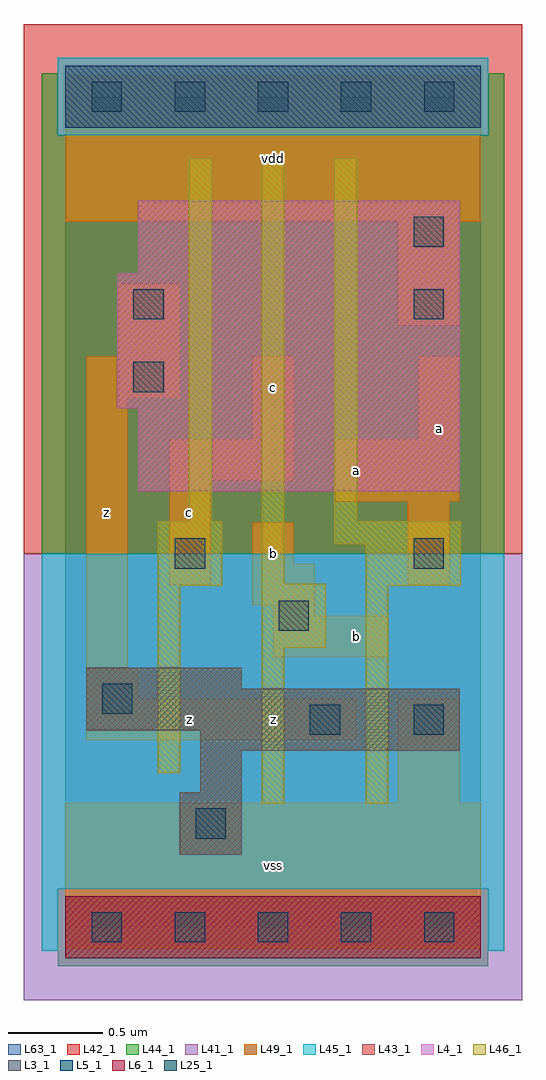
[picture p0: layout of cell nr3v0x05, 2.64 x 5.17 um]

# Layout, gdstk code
import gdstk
lib = gdstk.Library(unit=1e-6, precision=1e-09)
def R(c, l, rs):  # rectangles x0, y0, x1, y1
    for r in rs: c.add(gdstk.rectangle(r[:2], r[2:], *l))
def A(c, l, x, y, w, h, nx, ny, dx, dy):  # array of equal rectangles
    R(c, l, [(x+i*dx, y+j*dy, x+i*dx+w, y+j*dy+h) for i in range(nx) for j in range(ny)])
L3_1 = (3, 1)
L4_1 = (4, 1)
L5_1 = (5, 1)
L6_1 = (6, 1)
L25_1 = (25, 1)
L41_1 = (41, 1)
L42_1 = (42, 1)
L43_1 = (43, 1)
L44_1 = (44, 1)
L45_1 = (45, 1)
L46_1 = (46, 1)
L49_1 = (49, 1)
L63_1 = (63, 1)

nr3v0x05 = lib.new_cell('nr3v0x05')
R(nr3v0x05, L3_1, [(0.605,0.385,0.935,0.715), (0.715,0.715,0.935,0.935), (0.715,0.935,2.09,1.045), (0.11,1.045,2.09,1.265), (0.11,1.265,0.935,1.375)])
R(nr3v0x05, L4_1, [(0.385,2.31,2.09,2.75), (0.275,2.75,2.09,3.465), (0.385,3.465,2.09,3.85)])
R(nr3v0x05, L5_1, [(0,4.235,2.2,4.565)])
R(nr3v0x05, L6_1, [(0,-0.165,2.2,0.165)])
A(nr3v0x05, L25_1, 0.14, -0.08, 0.16, 0.16, 5, 2, 0.44, 4.4)
R(nr3v0x05, L25_1, [(0.69,0.47,0.85,0.63), (1.295,1.02,1.455,1.18), (1.845,1.02,2.005,1.18), (0.195,1.13,0.355,1.29), (1.13,1.57,1.29,1.73), (0.58,1.9,0.74,2.06), (1.845,1.9,2.005,2.06), (0.36,2.835,0.52,2.995), (0.36,3.22,0.52,3.38), (1.845,3.22,2.005,3.38), (1.845,3.605,2.005,3.765)])
R(nr3v0x05, L41_1, [(-0.22,-0.385,2.42,1.98)])
R(nr3v0x05, L42_1, [(-0.22,1.98,2.42,4.785)])
R(nr3v0x05, L43_1, [(0,-0.165,2.2,0.165), (0.605,0.385,0.935,0.715), (0.715,0.715,0.935,0.935), (0.715,0.935,2.09,1.045), (0.11,1.045,2.09,1.265), (0.11,1.265,0.935,1.375), (0.385,2.31,2.09,2.75), (0.275,2.75,2.09,3.465), (0.385,3.465,2.09,3.85), (0,4.235,2.2,4.565)])
R(nr3v0x05, L44_1, [(-0.04,-0.205,2.24,0.205), (-0.125,1.98,2.325,4.195), (-0.125,4.195,-0.04,4.525), (2.24,4.195,2.325,4.525)])
R(nr3v0x05, L45_1, [(-0.125,-0.125,-0.04,0.205), (2.24,-0.125,2.325,0.205), (-0.125,0.205,2.325,1.98), (-0.04,4.195,2.24,4.605)])
R(nr3v0x05, L46_1, [(1.04,0.655,1.16,1.48), (1.59,0.655,1.71,1.81), (0.49,0.82,0.61,1.81), (1.04,1.48,1.38,1.82), (0.49,1.81,0.83,2.15), (1.59,1.81,2.095,2.03), (1.04,1.82,1.16,4.075), (1.425,2.03,2.095,2.15), (0.655,2.15,0.775,4.075), (1.425,2.15,1.545,4.075)])
R(nr3v0x05, L49_1, [(0,-0.11,2.2,0.66), (1.76,0.66,2.09,1.21), (0.11,0.99,1.54,1.21), (0.11,1.21,0.385,1.375), (0.11,1.375,0.33,2.805), (1.1,1.43,1.705,1.65), (1.1,1.65,1.32,1.705), (0.99,1.705,1.32,1.925), (0.55,1.815,0.77,2.365), (1.815,1.815,2.035,2.255), (0.99,1.925,1.21,2.145), (1.43,2.255,2.09,2.585), (0.55,2.365,1.21,2.585), (0.99,2.585,1.21,3.025), (1.87,2.585,2.09,3.025), (0.11,2.805,0.605,3.025), (0.275,3.025,0.605,3.41), (1.76,3.19,2.09,3.74), (0,3.74,2.2,4.51)])
R(nr3v0x05, L63_1, [(0,0,2.2,4.4)])
nr3v0x05.add(gdstk.Label('z', (0.22,2.2), layer=49, texttype=1))
nr3v0x05.add(gdstk.Label('z', (0.66,1.1), layer=49, texttype=1))
nr3v0x05.add(gdstk.Label('c', (0.66,2.2), layer=49, texttype=1))
nr3v0x05.add(gdstk.Label('vss', (1.1,0.33), layer=49, texttype=1))
nr3v0x05.add(gdstk.Label('vss', (1.1,0.33), layer=49, texttype=1))
nr3v0x05.add(gdstk.Label('z', (1.1,1.1), layer=49, texttype=1))
nr3v0x05.add(gdstk.Label('b', (1.1,1.98), layer=49, texttype=1))
nr3v0x05.add(gdstk.Label('b', (1.54,1.54), layer=49, texttype=1))
nr3v0x05.add(gdstk.Label('a', (1.54,2.42), layer=49, texttype=1))
nr3v0x05.add(gdstk.Label('c', (1.1,2.86), layer=49, texttype=1))
nr3v0x05.add(gdstk.Label('vdd', (1.1,4.07), layer=49, texttype=1))
nr3v0x05.add(gdstk.Label('vdd', (1.1,4.07), layer=49, texttype=1))
nr3v0x05.add(gdstk.Label('a', (1.98,2.64), layer=49, texttype=1))

lib.write_gds('nr3v0x05.gds')
